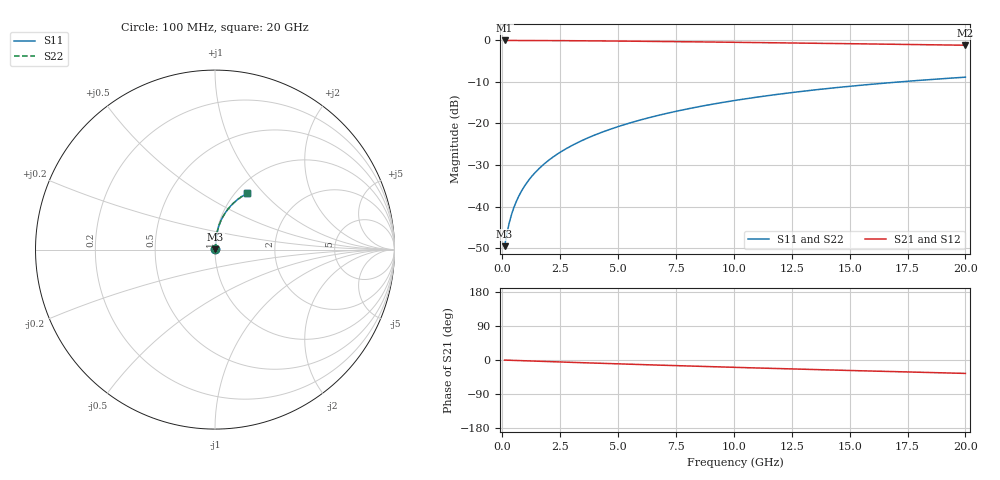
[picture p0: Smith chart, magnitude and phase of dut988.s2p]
! Touchstone file exported from HFSS 2024.1.0
!  File:  C:/UserFiles/LocalFiles/RDL_TSV_Batchsim/temp_RDL_top_988_1779939505.aedt
!  Generated:  11:40:43 AM May 28, 2026
!  Design:  RDL_top
!  Project:  temp_RDL_top_988_1779939505
!  Setup:  Setup1
!  Solution:  Sweep
! Variables:
!  dtsv = 10.80580581um
!  hbump = 3um
!  htsv = 58.85um
!  ldown = 100um
!  lrdl = 471.47um
!  p = 40
!  p1 = 50.81um
!  rhole = 1um
!  t = 450um
!  tdown = 3.915915916um
!  trdl = 3.37um
!  wdown = 15.38538539um
!  wrdl = 19.52um
# GHz S MA R 50.000000
! Terminal data exported
! Port[1] = Box2_T1
! Port[2] = Box2_T2
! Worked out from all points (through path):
!   200 points, 100 MHz to 20 GHz, reference 50 ohm
!   highest |S21| = -0.02 dB at 100 MHz (marker M1); lowest = -1.2 dB at 20 GHz (marker M2)
!   group delay of S21, straight-line fit = 4.88 ps
!   lowest |S11| = -49.5 dB at 100 MHz (marker M3), VSWR 1.01, Z = 50.3 + j0.194 ohm
!   |S11| at or under -10 dB: start of sweep to 17.15 GHz
!   |S22| runs from -49.5 to -8.9 dB; largest |S21 - S12| = 2e-15
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0.1  0.003337 35.3  0.9973 -0.2  0.9973 -0.2  0.003337 35.3
! Gamma 0 0 0 0
! Port Impedance 50 0 50 0
0.2  0.004745 53.5  0.9972 -0.4  0.9972 -0.4  0.004745 53.5
0.3  0.006365 62.5  0.997 -0.6  0.997 -0.6  0.006365 62.5
0.4  0.008037 67.7  0.9969 -0.9  0.9969 -0.9  0.008037 67.7
0.5  0.009725 71.1  0.9967 -1.1  0.9967 -1.1  0.009725 71.1
0.6  0.01142 73.5  0.9966 -1.3  0.9966 -1.3  0.01142 73.5
0.8  0.01485 76.8  0.9963 -1.7  0.9963 -1.7  0.01485 76.8
1.1  0.02005 79.8  0.9958 -2.3  0.9958 -2.3  0.02005 79.8
1.3  0.02356 81.0  0.9954 -2.7  0.9954 -2.7  0.02356 81.0
1.6  0.02886 82.2  0.9948 -3.4  0.9948 -3.4  0.02886 82.2
2.1  0.03779 83.3  0.9935 -4.4  0.9935 -4.4  0.03779 83.3
2.7  0.04866 83.9  0.9915 -5.6  0.9915 -5.6  0.04866 83.9
3.5  0.06338 84.0  0.9883 -7.2  0.9883 -7.2  0.06338 84.0
4.2  0.07647 83.8  0.985 -8.6  0.985 -8.6  0.07646 83.8
5  0.09164 83.2  0.9807 -10.2  0.9807 -10.2  0.09163 83.2
5.9  0.1089 82.3  0.9755 -11.9  0.9755 -11.9  0.1089 82.3
6.8  0.1264 81.2  0.9699 -13.6  0.9699 -13.6  0.1264 81.2
8.4  0.1575 79.0  0.9593 -16.5  0.9593 -16.5  0.1575 79.0
10.1  0.1903 76.3  0.9475 -19.5  0.9475 -19.5  0.1903 76.3
13.4  0.2517 70.9  0.9237 -25.1  0.9237 -25.1  0.2517 70.9
16.7  0.3088 65.4  0.8989 -30.4  0.8989 -30.4  0.3088 65.4
20  0.3606 60.2  0.8738 -35.4  0.8738 -35.4  0.3605 60.2
